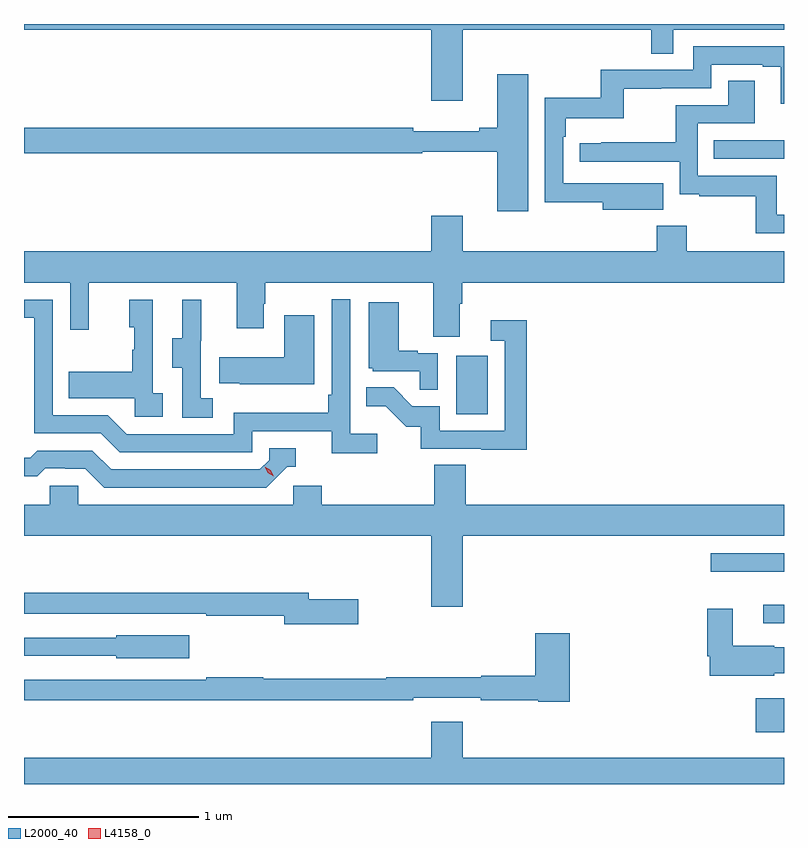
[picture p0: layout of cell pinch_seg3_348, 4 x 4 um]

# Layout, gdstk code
import gdstk
lib = gdstk.Library(unit=1e-6, precision=1e-09)
def R(c, l, rs):  # rectangles x0, y0, x1, y1
    for r in rs: c.add(gdstk.rectangle(r[:2], r[2:], *l))
def P(c, l, *ps):  # polygons
    for p in ps: c.add(gdstk.Polygon(p, *l))
L2000_40 = (2000, 40)
L4158_0 = (4158, 0)

pinch_seg3_348 = lib.new_cell('pinch_seg3_348')
R(pinch_seg3_348, L2000_40, [(993.887,694.554,994.036,694.732), (993.927,695.127,994.036,695.224), (993.651,695.399,994.036,695.496), (992.312,696.228,992.476,696.535), (993.667,697.572,994.036,697.668)])
P(pinch_seg3_348, L2000_40, [(992.344,698.252),(993.337,698.252),(993.337,698.125),(993.453,698.125),(993.453,698.252),(994.036,698.252),(994.036,698.281),(990.036,698.281),(990.036,698.252),(992.18,698.252),(992.18,697.878),(992.344,697.878)],
  [(993.401,697.444),(993.187,697.444),(993.187,697.443),(992.874,697.443),(992.874,697.688),(992.888,697.688),(992.888,697.784),(993.193,697.784),(993.193,697.939),(993.389,697.939),(993.389,697.944),(993.654,697.944),(993.654,698.067),(993.923,698.067),(993.923,698.055),(994.019,698.055),(994.019,697.862),(994.036,697.862),(994.036,698.163),(993.558,698.163),(993.558,698.04),(993.072,698.04),(993.072,697.894),(992.778,697.894),(992.778,697.342),(993.083,697.342),(993.083,697.304),(993.401,697.304)],
  [(992.689,698.017),(992.528,698.017),(992.528,697.736),(992.432,697.736),(992.432,697.717),(992.084,697.717),(992.084,697.736),(990.036,697.736),(990.036,697.6),(992.132,697.6),(992.132,697.608),(992.528,697.608),(992.528,697.296),(992.689,697.296)],
  [(994.036,697.276),(993.999,697.276),(993.999,697.482),(993.582,697.482),(993.582,697.758),(993.883,697.758),(993.883,697.982),(993.743,697.982),(993.743,697.854),(993.466,697.854),(993.466,697.658),(993.073,697.658),(993.073,697.653),(992.961,697.653),(992.961,697.557),(993.486,697.557),(993.486,697.385),(993.589,697.385),(993.589,697.374),(993.888,697.374),(993.888,697.179),(994.036,697.179)],
  [(992.329,696.808),(992.342,696.808),(992.342,696.92),(994.036,696.92),(994.036,697.084),(993.525,697.084),(993.525,697.219),(993.365,697.219),(993.365,697.084),(992.344,697.084),(992.344,697.273),(992.18,697.273),(992.18,697.084),(990.036,697.084),(990.036,696.92),(990.279,696.92),(990.279,696.672),(990.377,696.672),(990.377,696.92),(991.157,696.92),(991.157,696.681),(991.297,696.681),(991.297,696.809),(991.305,696.809),(991.305,696.92),(992.189,696.92),(992.189,696.634),(992.329,696.634)],
  [(991.894,696.124),(991.752,696.124),(991.752,696.832),(991.656,696.832),(991.656,696.331),(991.636,696.331),(991.636,696.235),(991.14,696.235),(991.14,696.123),(990.576,696.123),(990.477,696.222),(990.186,696.222),(990.186,696.831),(990.036,696.831),(990.036,696.735),(990.09,696.735),(990.09,696.126),(990.44,696.126),(990.539,696.027),(991.236,696.027),(991.236,696.138),(991.655,696.138),(991.655,696.022),(991.894,696.022)],
  [(991.03,696.311),(990.966,696.311),(990.966,696.615),(990.968,696.615),(990.968,696.829),(990.869,696.829),(990.869,696.627),(990.815,696.627),(990.815,696.472),(990.87,696.472),(990.87,696.208),(991.03,696.208)],
  [(990.766,696.338),(990.714,696.338),(990.714,696.829),(990.59,696.829),(990.59,696.684),(990.616,696.684),(990.616,696.566),(990.606,696.566),(990.606,696.451),(990.271,696.451),(990.271,696.311),(990.618,696.311),(990.618,696.213),(990.766,696.213)],
  [(992.214,696.549),(992.108,696.549),(992.108,696.562),(992.008,696.562),(992.008,696.817),(991.85,696.817),(991.85,696.468),(991.872,696.468),(991.872,696.453),(992.119,696.453),(992.119,696.355),(992.214,696.355)],
  [(991.564,696.748),(991.406,696.748),(991.406,696.526),(991.063,696.526),(991.063,696.389),(991.171,696.389),(991.171,696.386),(991.564,696.386)],
  [(992.681,696.721),(992.493,696.721),(992.493,696.615),(992.565,696.615),(992.565,696.141),(992.223,696.141),(992.223,696.27),(992.079,696.27),(991.981,696.368),(991.837,696.368),(991.837,696.269),(991.941,696.269),(992.048,696.162),(992.125,696.162),(992.125,696.045),(992.443,696.045),(992.443,696.04),(992.681,696.04)],
  [(991.422,695.952),(991.465,695.952),(991.465,696.048),(991.326,696.048),(991.326,695.985),(991.278,695.937),(990.495,695.937),(990.396,696.036),(990.107,696.036),(990.068,695.997),(990.036,695.997),(990.036,695.901),(990.107,695.901),(990.149,695.943),(990.252,695.943),(990.252,695.94),(990.359,695.94),(990.458,695.841),(991.311,695.841)],
  [(992.344,695.588),(994.036,695.588),(994.036,695.752),(992.36,695.752),(992.36,695.96),(992.195,695.96),(992.195,695.752),(991.604,695.752),(991.604,695.85),(991.452,695.85),(991.452,695.752),(990.321,695.752),(990.321,695.85),(990.171,695.85),(990.171,695.752),(990.036,695.752),(990.036,695.588),(992.18,695.588),(992.18,695.214),(992.344,695.214)],
  [(991.795,695.253),(991.534,695.253),(991.534,695.287),(990.036,695.287),(990.036,695.178),(990.994,695.178),(990.994,695.166),(991.406,695.166),(991.406,695.123),(991.795,695.123)],
  [(993.984,694.863),(994.036,694.863),(994.036,695.001),(993.984,695.001),(993.984,695.008),(993.766,695.008),(993.766,695.203),(993.632,695.203),(993.632,694.954),(993.644,694.954),(993.644,694.85),(993.984,694.85)],
  [(992.909,695.074),(992.726,695.074),(992.726,694.85),(992.442,694.85),(992.442,694.843),(991.942,694.843),(991.942,694.835),(991.294,694.835),(991.294,694.843),(990.994,694.843),(990.994,694.83),(990.036,694.83),(990.036,694.722),(992.084,694.722),(992.084,694.734),(992.44,694.734),(992.44,694.722),(992.742,694.722),(992.742,694.714),(992.909,694.714)],
  [(990.907,695.065),(990.522,695.065),(990.522,695.052),(990.036,695.052),(990.036,694.956),(990.522,694.956),(990.522,694.943),(990.907,694.943)],
  [(994.036,694.42),(992.344,694.42),(992.344,694.609),(992.18,694.609),(992.18,694.42),(990.036,694.42),(990.036,694.281),(994.036,694.281)])
P(pinch_seg3_348, L4158_0, [(991.35,695.9),(991.319,695.919),(991.302,695.951),(991.302,695.952),(991.302,695.952),(991.334,695.932),(991.35,695.9),(991.35,695.9)])

lib.write_gds('pinch_seg3_348.gds')
